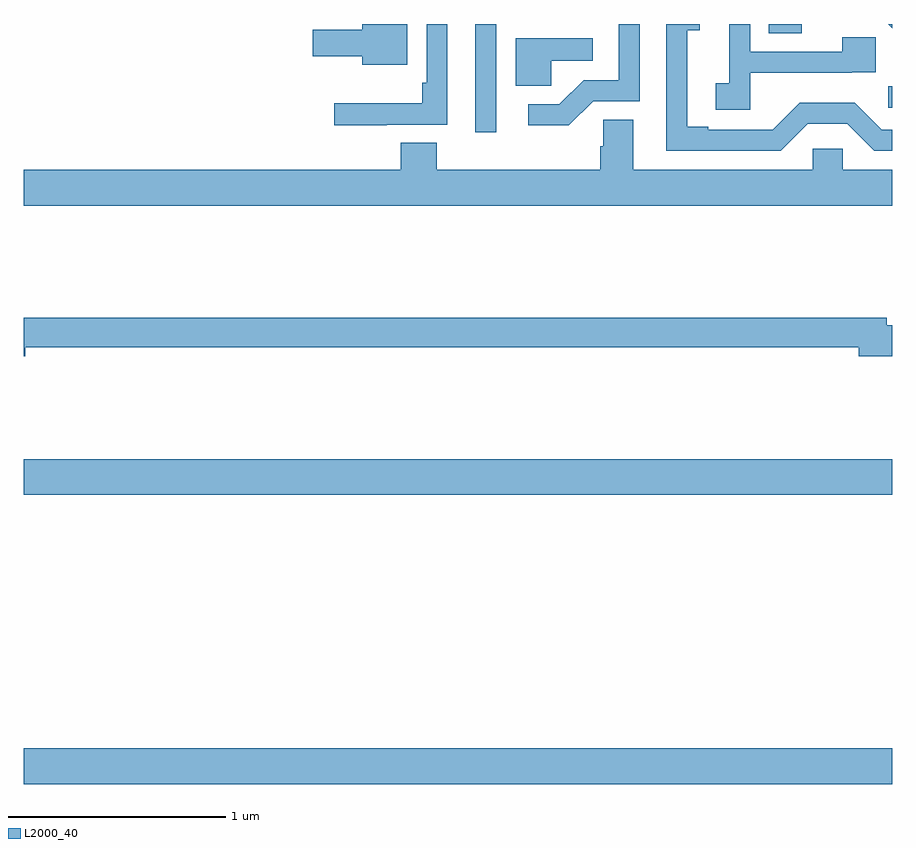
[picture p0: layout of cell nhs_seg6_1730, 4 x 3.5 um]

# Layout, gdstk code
import gdstk
lib = gdstk.Library(unit=1e-6, precision=1e-09)
def R(c, l, rs):  # rectangles x0, y0, x1, y1
    for r in rs: c.add(gdstk.rectangle(r[:2], r[2:], *l))
def P(c, l, *ps):  # polygons
    for p in ps: c.add(gdstk.Polygon(p, *l))
L2000_40 = (2000, 40)

nhs_seg6_1730 = lib.new_cell('nhs_seg6_1730')
R(nhs_seg6_1730, L2000_40, [(215,950,219,950.164), (215,951.332,219,951.496), (217.08,953.001,217.176,953.5), (218.982,953.115,219,953.214), (218.431,953.458,218.583,953.5)])
P(nhs_seg6_1730, L2000_40, [(216.766,953.5),(216.56,953.5),(216.56,953.473),(216.33,953.473),(216.33,953.351),(216.56,953.351),(216.56,953.312),(216.766,953.312)],
  [(218.346,953.276),(218.813,953.276),(218.813,953.277),(218.923,953.277),(218.923,953.438),(218.77,953.438),(218.77,953.373),(218.346,953.373),(218.346,953.5),(218.249,953.5),(218.249,953.226),(218.187,953.226),(218.187,953.106),(218.346,953.106)],
  [(217.623,953.145),(217.836,953.145),(217.836,953.5),(217.74,953.5),(217.74,953.241),(217.578,953.241),(217.467,953.13),(217.323,953.13),(217.323,953.033),(217.51,953.033)],
  [(218.61,953.04),(218.793,953.04),(218.916,952.917),(219,952.917),(219,953.013),(218.952,953.013),(218.828,953.137),(218.574,953.137),(218.45,953.013),(218.152,953.013),(218.152,953.026),(218.056,953.026),(218.056,953.472),(218.113,953.472),(218.113,953.5),(217.959,953.5),(217.959,952.917),(218.487,952.917)],
  [(216.673,953.037),(216.951,953.037),(216.951,953.5),(216.855,953.5),(216.855,953.23),(216.835,953.23),(216.835,953.134),(216.429,953.134),(216.429,953.033),(216.673,953.033)],
  [(219,953.5),(218.981,953.5),(219,953.481)],
  [(217.429,953.33),(217.621,953.33),(217.621,953.434),(217.265,953.434),(217.265,953.216),(217.429,953.216)],
  [(219,952.828),(218.772,952.828),(218.772,952.926),(218.634,952.926),(218.634,952.828),(217.807,952.828),(217.807,953.06),(217.668,953.06),(217.668,952.937),(217.655,952.937),(217.655,952.828),(216.902,952.828),(216.902,952.952),(216.737,952.952),(216.737,952.828),(215,952.828),(215,952.664),(219,952.664)],
  [(215.008,952.012),(218.846,952.012),(218.846,951.97),(219,951.97),(219,952.112),(218.974,952.112),(218.974,952.148),(215,952.148),(215,951.97),(215.008,951.97)])

lib.write_gds('nhs_seg6_1730.gds')
